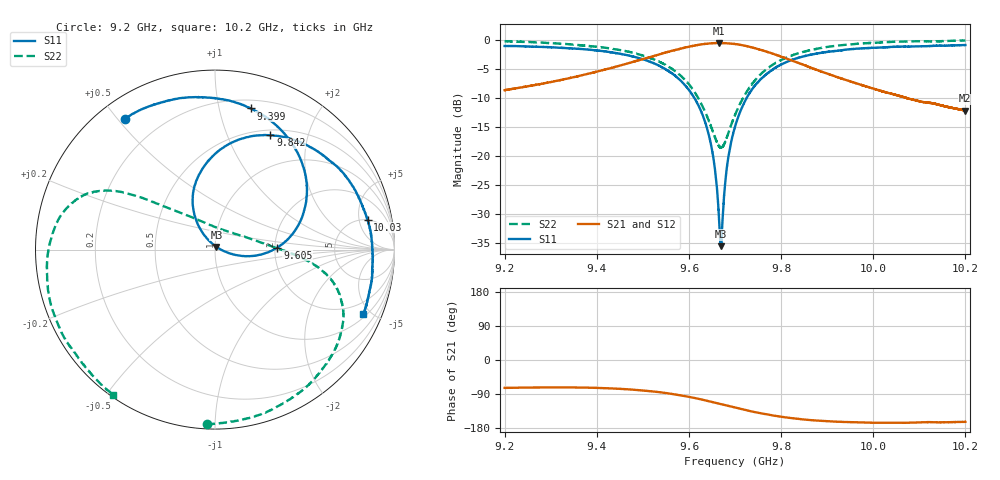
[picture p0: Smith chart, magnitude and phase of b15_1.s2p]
!Agilent Technologies,N5242A,MY51221714,A.09.90.19
!Agilent N5242A: A.09.90.19
!Date: Saturday, December 30, 2023 10:08:21
!Correction: S11(Full 2 Port(1,2))
!S21(Full 2 Port(1,2))
!S12(Full 2 Port(1,2))
!S22(Full 2 Port(1,2))
!S2P File: Measurements: S11, S21, S12, S22:
# Hz S  dB  R 50
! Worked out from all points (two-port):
!   16001 points, 9.2 GHz to 10.2 GHz, reference 50 ohm
!   highest |S21| = -0.54 dB at 9.665 GHz (marker M1); lowest = -12.2 dB at 10.2 GHz (marker M2)
!   |S21| within 3 dB of the highest: 9.489 GHz to 9.822 GHz (333.1 MHz wide, 3.45 % of centre)
!   lowest |S11| = -35.5 dB at 9.67 GHz (marker M3), VSWR 1.03, Z = 50.8 + j1.51 ohm
!   |S11| at or under -10 dB: 9.611844 GHz to 9.611928 GHz (84.88 kHz wide, 0.000883 % of centre); 9.612 GHz to 9.725 GHz (113.4 MHz wide, 1.17 % of centre)
!   |S22| runs from -18.6 to -0.1 dB; largest |S21 - S12| = 0.013
!   S11 on the Smith chart (normalised r, x): 9.2 GHz: 0.08, +0.52; 9.399 GHz: 0.27, +1.25; 9.605 GHz: 2.07, +0.05; 9.842 GHz: 0.57, +1.44; 10.03 GHz: 4.93, +6.63; 10.2 GHz: 1.17, -4.50
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9.2e9  -1.06 124.7  -8.65 -73.6  -8.63 -74.4  -0.23 -92.7
9.278e9  -1.22 106.6  -7.60 -72.4  -7.59 -73.0  -0.47 -71.5
9.366688e9  -1.58 84.6  -6.12 -72.7  -6.10 -73.4  -0.95 -48.7
9.398562e9  -1.82 75.9  -5.49 -73.6  -5.48 -74.3  -1.18 -40.7
9.466688e9  -2.64 55.4  -4.06 -77.3  -4.05 -77.9  -2.01 -25.8
9.533375e9  -4.38 32.1  -2.56 -84.5  -2.55 -85.1  -3.69 -13.7
9.605e9  -9.17 1.9  -1.10 -98.5  -1.09 -99.1  -8.15 -1.3
9.645688e9  -17.16 -13.9  -0.62 -109.3  -0.62 -110.0  -14.40 20.7
9.656938e9  -22.59 -13.7  -0.57 -112.6  -0.56 -113.3  -16.83 37.3
9.665312e9  -30.74 4.0  -0.54 -115.2  -0.55 -115.8  -18.30 57.3
9.669625e9  -35.46 62.1  -0.55 -116.5  -0.54 -117.0  -18.50 70.3
9.684e9  -21.02 126.4  -0.60 -120.8  -0.59 -121.4  -16.37 107.5
9.7e9  -14.96 123.5  -0.72 -125.5  -0.71 -126.2  -12.92 126.2
9.7505e9  -7.21 101.0  -1.61 -139.3  -1.60 -140.0  -6.34 144.1
9.797125e9  -4.36 80.9  -2.80 -149.1  -2.81 -149.9  -3.59 150.2
9.841562e9  -3.00 64.1  -4.09 -155.9  -4.08 -156.6  -2.20 156.2
9.866688e9  -2.52 55.5  -4.84 -158.9  -4.83 -159.5  -1.72 160.1
9.95e9  -1.62 31.4  -7.14 -164.1  -7.14 -164.8  -0.79 175.7
1.003256e10  -1.24 11.2  -9.12 -165.6  -9.11 -166.3  -0.38 -166.2
1.003338e10  -1.26 11.0  -9.15 -165.6  -9.14 -166.3  -0.38 -166.1
1.019906e10  -0.91 -23.4  -12.16 -163.3  -12.14 -163.9  -0.12 -125.3
1.02e10  -0.90 -23.6  -12.15 -163.2  -12.14 -164.0  -0.12 -125.0
